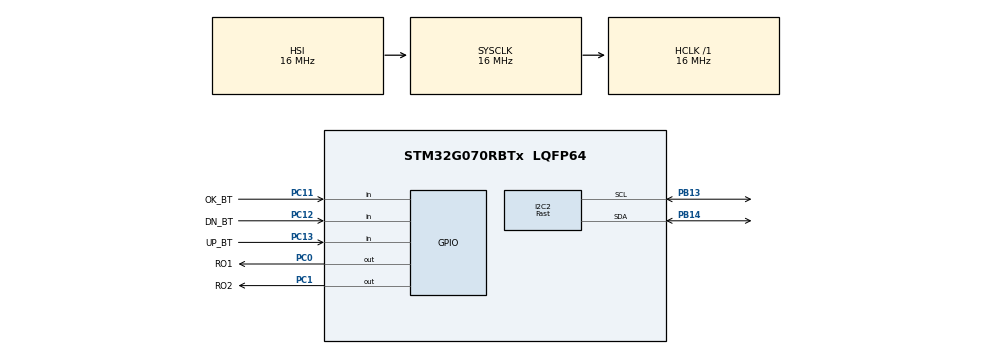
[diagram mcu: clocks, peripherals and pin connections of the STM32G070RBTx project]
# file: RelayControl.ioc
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I2C2.I2C_Speed_Mode=I2C_Fast
I2C2.Timing=0x00300617
Mcu.Family=STM32G0
Mcu.Name=STM32G070RBTx
Mcu.Package=LQFP64
PA13.Mode=Serial_Wire
PA13.Signal=SYS_SWDIO
PA14-BOOT0.Mode=Serial_Wire
PA14-BOOT0.Signal=SYS_SWCLK
PB13.Mode=I2C
PB13.Signal=I2C2_SCL
PB14.Mode=I2C
PB14.Signal=I2C2_SDA
PC0.GPIO_Label=RO1
PC0.Signal=GPIO_Output
PC1.GPIO_Label=RO2
PC1.GPIO_PuPd=GPIO_PULLDOWN
PC1.Signal=GPIO_Output
PC11.GPIO_Label=OK_BT
PC11.Signal=GPIO_Input
PC12.GPIO_Label=DN_BT
PC12.Signal=GPIO_Input
PC13.GPIO_Label=UP_BT
PC13.Signal=GPIO_Input
ProjectManager.HeapSize=0x200
ProjectManager.StackSize=0x400
ProjectManager.TargetToolchain=STM32CubeIDE
RCC.AHBFreq_Value=16000000
RCC.CortexFreq_Value=16000000
RCC.EXTERNAL_CLOCK_VALUE=48000
RCC.HCLKFreq_Value=16000000
RCC.HSE_VALUE=8000000
RCC.HSI_VALUE=16000000
RCC.LSE_VALUE=32768
RCC.SYSCLKFreq_VALUE=16000000
RCC.VCOOutputFreq_Value=128000000
board=custom

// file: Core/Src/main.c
/* USER CODE BEGIN Header */
/**
  ******************************************************************************
  * @file           : main.c
  * @brief          : Main program body
  ******************************************************************************
  * @attention
  *
  * Copyright (c) 2024 STMicroelectronics.
  * All rights reserved.
  *
  * This software is licensed under terms that can be found in the LICENSE file
  * in the root directory of this software component.
  * If no LICENSE file comes with this software, it is provided AS-IS.
  *
  ******************************************************************************
  */
/* USER CODE END Header */
#include "main.h"

/* USER CODE BEGIN Includes */
#include "DisplayCtril.h"
#include "FlashReadWrite.h"
#define TIMEFACTOR    600
/* USER CODE END Includes */

/* USER CODE BEGIN PD */
uint32_t Timecount1 = 0,Timecount2 = 0;
	FlagStatus  Set_RO2 = RESET,Set_RO1 = RESET;
	FlagStatus  Set_RO2_prev = RESET,Set_RO1_prev = RESET;
	FlagStatus updatedisplay = RESET;
	FlagStatus RO1_enable = SET,RO2_enable = SET;
	int8_t pos = 0;
	typedef enum
		{
			MAIN_SCREEN,
			RELAY_SCREEN,
			TIME_SCREEN,
			RO1_TIME_SCREEN,
			RO2_TIME_SCREEN,
			RELAY_SETTING_SCREEN,
			RO1_SETTING_SCREEN,
			RO2_SETTING_SCREEN,
			MESSAGE_SCREEN,
			NONE_SCREEN,
		}Screen_POS;

		Screen_POS ScreenPos = MAIN_SCREEN;
	typedef enum
	{
		OK_BTN,
		DN_BTN,
		UP_BTN,
		NONE_BTN,
	}Btn_Pressed;

	typedef enum
	{
		ON_TIME,
		OFF_TIME,
		NONE_TIME,
	}Time_State;
	Time_State TimeState = NONE_TIME;
Btn_Pressed Btn_Triggerd = NONE_BTN;

uint16_t On_Time1 =30,Off_Time1 =30,On_Time2 =40,Off_Time2 =40;

/* USER CODE END PD */

I2C_HandleTypeDef hi2c2;

void SystemClock_Config(void);
static void MX_GPIO_Init(void);
static void MX_I2C2_Init(void);

int main(void)
{

  /* MCU Configuration--------------------------------------------------------*/

  /* Reset of all peripherals, Initializes the Flash interface and the Systick. */
  HAL_Init();

  /* Configure the system clock */
  SystemClock_Config();

  /* Initialize all configured peripherals */
  MX_GPIO_Init();
  MX_I2C2_Init();
  /* USER CODE BEGIN 2 */
  	RetriveData();
    Display_init();
	MainScreen(1 ,1, 1);
	ScreenPos = MAIN_SCREEN;
  /* USER CODE END 2 */

  /* Infinite loop */
  while (1)
  {

    /* USER CODE BEGIN 3 */
	//HAL_GPIO_WritePin(RO1_GPIO_Port, RO1_Pin, Set_RO1);

	if(updatedisplay)
	{
		Scrn_ctrl();
		updatedisplay = RESET;
	}
	if(Btn_Triggerd != NONE_BTN)
	{
		Btn_Ctrl();
	}
	OnOffUpdated();
	checkButtonPressed();
	  HAL_Delay(100);
  }
  /* USER CODE END 3 */
}

void SystemClock_Config(void)
{
  RCC_OscInitTypeDef RCC_OscInitStruct = {0};
  RCC_ClkInitTypeDef RCC_ClkInitStruct = {0};

  /** Configure the main internal regulator output voltage
  */
  HAL_PWREx_ControlVoltageScaling(PWR_REGULATOR_VOLTAGE_SCALE1);

  /** Initializes the RCC Oscillators according to the specified parameters
  * in the RCC_OscInitTypeDef structure.
  */
  RCC_OscInitStruct.OscillatorType = RCC_OSCILLATORTYPE_HSI;
  RCC_OscInitStruct.HSIState = RCC_HSI_ON;
  RCC_OscInitStruct.HSIDiv = RCC_HSI_DIV1;
  RCC_OscInitStruct.HSICalibrationValue = RCC_HSICALIBRATION_DEFAULT;
  RCC_OscInitStruct.PLL.PLLState = RCC_PLL_NONE;
  if (HAL_RCC_OscConfig(&RCC_OscInitStruct) != HAL_OK)
  {
    Error_Handler();
  }

  /** Initializes the CPU, AHB and APB buses clocks
  */
  RCC_ClkInitStruct.ClockType = RCC_CLOCKTYPE_HCLK|RCC_CLOCKTYPE_SYSCLK
                              |RCC_CLOCKTYPE_PCLK1;
  RCC_ClkInitStruct.SYSCLKSource = RCC_SYSCLKSOURCE_HSI;
  RCC_ClkInitStruct.AHBCLKDivider = RCC_SYSCLK_DIV1;
  RCC_ClkInitStruct.APB1CLKDivider = RCC_HCLK_DIV1;

  if (HAL_RCC_ClockConfig(&RCC_ClkInitStruct, FLASH_LATENCY_0) != HAL_OK)
  {
    Error_Handler();
  }
}

static void MX_I2C2_Init(void)
{

  hi2c2.Instance = I2C2;
  hi2c2.Init.Timing = 0x00300617;
  hi2c2.Init.OwnAddress1 = 0;
  hi2c2.Init.AddressingMode = I2C_ADDRESSINGMODE_7BIT;
  hi2c2.Init.DualAddressMode = I2C_DUALADDRESS_DISABLE;
  hi2c2.Init.OwnAddress2 = 0;
  hi2c2.Init.OwnAddress2Masks = I2C_OA2_NOMASK;
  hi2c2.Init.GeneralCallMode = I2C_GENERALCALL_DISABLE;
  hi2c2.Init.NoStretchMode = I2C_NOSTRETCH_DISABLE;
  if (HAL_I2C_Init(&hi2c2) != HAL_OK)
  {
    Error_Handler();
  }

  /** Configure Analogue filter
  */
  if (HAL_I2CEx_ConfigAnalogFilter(&hi2c2, I2C_ANALOGFILTER_ENABLE) != HAL_OK)
  {
    Error_Handler();
  }

  /** Configure Digital filter
  */
  if (HAL_I2CEx_ConfigDigitalFilter(&hi2c2, 0) != HAL_OK)
  {
    Error_Handler();
  }

}

static void MX_GPIO_Init(void)
{
  GPIO_InitTypeDef GPIO_InitStruct = {0};

  /* GPIO Ports Clock Enable */
  __HAL_RCC_GPIOC_CLK_ENABLE();
  __HAL_RCC_GPIOB_CLK_ENABLE();
  __HAL_RCC_GPIOA_CLK_ENABLE();

  /*Configure GPIO pin Output Level */
  HAL_GPIO_WritePin(GPIOC, RO1_Pin|RO2_Pin, GPIO_PIN_RESET);

  /*Configure GPIO pins : OK_BT_Pin DN_BT_Pin UP_BT_Pin */
  GPIO_InitStruct.Pin = OK_BT_Pin|DN_BT_Pin|UP_BT_Pin;
  GPIO_InitStruct.Mode = GPIO_MODE_INPUT;
  GPIO_InitStruct.Pull = GPIO_NOPULL;
  HAL_GPIO_Init(GPIOC, &GPIO_InitStruct);

  /*Configure GPIO pin : RO1_Pin */
  GPIO_InitStruct.Pin = RO1_Pin;
  GPIO_InitStruct.Mode = GPIO_MODE_OUTPUT_PP;
  GPIO_InitStruct.Pull = GPIO_NOPULL;
  GPIO_InitStruct.Speed = GPIO_SPEED_FREQ_LOW;
  HAL_GPIO_Init(RO1_GPIO_Port, &GPIO_InitStruct);

  /*Configure GPIO pin : RO2_Pin */
  GPIO_InitStruct.Pin = RO2_Pin;
  GPIO_InitStruct.Mode = GPIO_MODE_OUTPUT_PP;
  GPIO_InitStruct.Pull = GPIO_PULLDOWN;
  GPIO_InitStruct.Speed = GPIO_SPEED_FREQ_LOW;
  HAL_GPIO_Init(RO2_GPIO_Port, &GPIO_InitStruct);

}

/* USER CODE BEGIN 4 */
void HAL_GPIO_EXTI_Falling_Callback(uint16_t GPIO_Pin)
{
  if(GPIO_Pin == OK_BT_Pin)
  {
	  Btn_Triggerd = OK_BTN;
  }
  else if(GPIO_Pin == DN_BT_Pin)
  {
	  Btn_Triggerd = DN_BTN;
  }
  else if(GPIO_Pin == UP_BT_Pin)
  {
	  Btn_Triggerd = UP_BTN;
  }
  else
  {
	  Btn_Triggerd = NONE_BTN;
  }
}

void checkButtonPressed()
{
	if(HAL_GPIO_ReadPin(OK_BT_GPIO_Port, OK_BT_Pin) == GPIO_PIN_RESET)
	{
		Btn_Triggerd = OK_BTN;
	}
	else if(HAL_GPIO_ReadPin(UP_BT_GPIO_Port, UP_BT_Pin) == GPIO_PIN_RESET)
	{
		Btn_Triggerd = UP_BTN;
	}
	else if(HAL_GPIO_ReadPin(DN_BT_GPIO_Port, DN_BT_Pin) == GPIO_PIN_RESET)
	{
		Btn_Triggerd = DN_BTN;
	}
	else
	  {
		  Btn_Triggerd = NONE_BTN;
	  }
}
void OK_Button_Update()
{
	switch(ScreenPos)
	{
	case MAIN_SCREEN:
		if(pos == 0)
		{
			ScreenPos = RELAY_SETTING_SCREEN;

		}
		else if(pos == 1)
		{
			ScreenPos = RELAY_SCREEN;

		}
		else if(pos == 2)
		{
			ScreenPos = TIME_SCREEN;
		}
		pos = 0;
		updatedisplay = SET;
		break;
	case RELAY_SCREEN:
		ScreenPos = MAIN_SCREEN;
		break;
	case RELAY_SETTING_SCREEN:
		ScreenPos = RO1_SETTING_SCREEN;
		pos = 0;
		updatedisplay = SET;
		break;
	case RO1_SETTING_SCREEN:
		ScreenPos = RO2_SETTING_SCREEN;
		pos = 0;
		updatedisplay = SET;
		break;
	case RO2_SETTING_SCREEN:
		ScreenPos = MAIN_SCREEN;
		pos = 0;
		updatedisplay = SET;
		break;
	case TIME_SCREEN:
		if(pos == 1)
		{
			ScreenPos = RO1_TIME_SCREEN;
		}
		else if(pos == 2)
		{
			ScreenPos = RO2_TIME_SCREEN;
		}
		pos = 0;
		updatedisplay = SET;
		break;
	case RO1_TIME_SCREEN:
		if(TimeState == NONE_TIME)
		{
			TimeState = ON_TIME;
		}
		else if(TimeState == ON_TIME)
		{
			TimeState = OFF_TIME;
		}
		else if(TimeState == OFF_TIME)
		{
			ScreenPos = MESSAGE_SCREEN;
			TimeState = NONE_TIME;
		}
		else
		{
			ScreenPos = MAIN_SCREEN;
			TimeState = NONE_TIME;
		}
		updatedisplay = SET;
		break;
	case RO2_TIME_SCREEN:
		if(TimeState == NONE_TIME)
		{
			TimeState = ON_TIME;
		}
		else if(TimeState == ON_TIME)
		{
			TimeState = OFF_TIME;
		}
		else if(TimeState == OFF_TIME)
		{
			ScreenPos = MESSAGE_SCREEN;
			TimeState = NONE_TIME;
		}
		else
		{
			ScreenPos = MAIN_SCREEN;
			TimeState = NONE_TIME;
		}
		updatedisplay = SET;
		break;
	case NONE_SCREEN:
		break;
	default:
		break;
	}
}
void UP_Button_Update()
{
	switch(ScreenPos)
	{
	case MAIN_SCREEN:
		updatedisplay = SET;
		pos--;
		break;
	case RELAY_SCREEN:
		break;
	case TIME_SCREEN:
		updatedisplay = SET;
		pos--;
		break;
	case RO1_TIME_SCREEN:
		if(TimeState == ON_TIME)
		{
			On_Time1++;
		}
		else if(TimeState == OFF_TIME)
		{
			Off_Time1++;
		}
		else
		{
		}
		updatedisplay = SET;
		break;
	case RO2_TIME_SCREEN:
		if(TimeState == ON_TIME)
		{
			On_Time2++;
		}
		else if(TimeState == OFF_TIME)
		{
			Off_Time2++;
		}
		else
		{
		}
		updatedisplay = SET;
		break;
	case RELAY_SETTING_SCREEN:
		break;
	case RO1_SETTING_SCREEN:
		RO1_enable = (RO1_enable == SET)?RESET:SET;
		pos = 0;
		updatedisplay = SET;
		break;
	case RO2_SETTING_SCREEN:
		RO2_enable = (RO2_enable == SET)?RESET:SET;
		pos = 0;
		updatedisplay = SET;
		break;
	case NONE_SCREEN:
		break;
	default:
		break;
	}
}
void DN_Button_Update()
{
	switch(ScreenPos)
	{
	case MAIN_SCREEN:
		updatedisplay = SET;
		pos++;
		break;
	case RELAY_SCREEN:
		break;
	case TIME_SCREEN:
		updatedisplay = SET;
		pos++;
		break;
	case RO1_TIME_SCREEN:
		if(TimeState == ON_TIME)
		{
			On_Time1--;
		}
		else if(TimeState == OFF_TIME)
		{
			Off_Time1--;
		}
		else
		{
		}
		updatedisplay = SET;
		break;
	case RO2_TIME_SCREEN:
		if(TimeState == ON_TIME)
		{
			On_Time2--;
		}
		else if(TimeState == OFF_TIME)
		{
			Off_Time2--;
		}
		else
		{
		}
		updatedisplay = SET;
		break;
	case RELAY_SETTING_SCREEN:
			break;
	case RO1_SETTING_SCREEN:
		RO1_enable = (RO1_enable == SET)?RESET:SET;
		pos = 0;
		updatedisplay = SET;
		break;
	case RO2_SETTING_SCREEN:
		RO2_enable = (RO2_enable == SET)?RESET:SET;
		pos = 0;
		updatedisplay = SET;
		break;
	case NONE_SCREEN:
		break;
	default:
		break;
	}
}

void Btn_Ctrl()
{
	switch(Btn_Triggerd)
	{
	case OK_BTN:
		OK_Button_Update();
		break;
	case UP_BTN:
		UP_Button_Update();
		break;
	case DN_BTN:
		DN_Button_Update();
		break;
	case NONE_BTN:
		break;
	default:
		break;
	}
	Btn_Triggerd = NONE_BTN;

}

void Scrn_ctrl()
{
	switch(ScreenPos)
		{
		case MAIN_SCREEN:
			ScrollMenu(&pos);
			break;
		case RELAY_SCREEN:
			RelayStatus(Set_RO1,Set_RO2);
			break;
		case TIME_SCREEN:
			ScrollTimerSetting(On_Time1,Off_Time1,On_Time2,Off_Time2,&pos);
			break;
		case RO1_TIME_SCREEN:
			if(TimeState == ON_TIME)
			{
				Relay1TimeSetting(On_Time1,Off_Time1,0,1);
			}
			else if(TimeState == OFF_TIME)
			{
				Relay1TimeSetting(On_Time1,Off_Time1,1,0);
			}
			else
			{
				Relay1TimeSetting(On_Time1,Off_Time1,1,1);
			}
			break;
		case RO2_TIME_SCREEN:
			if(TimeState == ON_TIME)
			{
				Relay2TimeSetting(On_Time2,Off_Time2,0,1);
			}
			else if(TimeState == OFF_TIME)
			{
				Relay2TimeSetting(On_Time2,Off_Time2,1,0);
			}
			else
			{
				Relay2TimeSetting(On_Time2,Off_Time2,1,1);
			}
			break;
		case RELAY_SETTING_SCREEN:
			RelaySetting(RO1_enable,RO2_enable,1,1);
			break;

		case RO1_SETTING_SCREEN:
			RelaySetting(RO1_enable,RO2_enable,0,1);
			break;

		case RO2_SETTING_SCREEN:
			RelaySetting(RO1_enable,RO2_enable,1,0);
			break;

		case MESSAGE_SCREEN:
			SaveData();
			Message1();
			ScreenPos = MAIN_SCREEN;
			Btn_Triggerd = DN_BTN;
			break;
		case NONE_SCREEN:
			RelayStatus(Set_RO1,Set_RO2);
			break;
		default:
			break;
		}
}

void UpdatedRelayStatus()
{
	if(Set_RO1_prev != Set_RO1)
	{
		HAL_GPIO_WritePin(RO1_GPIO_Port, RO1_Pin, Set_RO1);
		Set_RO1_prev = Set_RO1;
		updatedisplay = SET;
	}
	if(Set_RO2_prev != Set_RO2)
	{
		HAL_GPIO_WritePin(RO2_GPIO_Port, RO2_Pin, Set_RO2);
		Set_RO2_prev = Set_RO2;
		updatedisplay = SET;
	}
}

void OnOffUpdated()
{
	if(RO1_enable)
		{
			if(Set_RO1)
			{
				if(Timecount1 >=  (TIMEFACTOR * On_Time1) )
				{
					Timecount1 = 0;
					Set_RO1 = RESET;
				}
			}
			else
			{
				if(Timecount1 >=  (TIMEFACTOR * Off_Time1) )
				{
					Timecount1 = 0;
					Set_RO1 = SET;
				}
			}
			Timecount1++;
		}
	else
		{
			Timecount1 = 0;
			Set_RO1 = RESET;
		}
	if(RO2_enable)
	{
		if(Set_RO2)
		{
			if(Timecount2 >=  (TIMEFACTOR * On_Time2) )
			{
				Timecount2 = 0;
				Set_RO2 = RESET;
			}
		}
		else
		{
			if(Timecount2 >=  (TIMEFACTOR * Off_Time2) )
			{
				Timecount2 = 0;
				Set_RO2 = SET;
			}
		}
		Timecount2++;
	}
	else
		{
			Timecount2 = 0;
			Set_RO2 = RESET;
		}
	UpdatedRelayStatus();
}
/* USER CODE END 4 */

void Error_Handler(void)
{
  __disable_irq();
  while (1)
  {
  }
}
